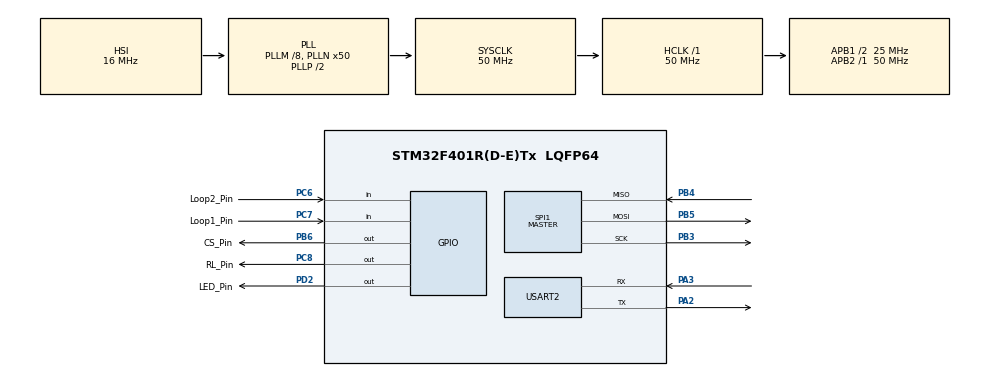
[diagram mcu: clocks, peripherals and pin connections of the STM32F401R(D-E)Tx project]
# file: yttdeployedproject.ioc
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Mcu.Family=STM32F4
Mcu.Name=STM32F401R(D-E)Tx
Mcu.Package=LQFP64
NVIC.PriorityGroup=NVIC_PRIORITYGROUP_4
PA0-WKUP.Mode=SYS_WakeUp0
PA0-WKUP.Signal=SYS_WKUP
PA13.Mode=Serial_Wire
PA13.Signal=SYS_JTMS-SWDIO
PA14.Mode=Serial_Wire
PA14.Signal=SYS_JTCK-SWCLK
PA2.Mode=Asynchronous
PA2.Signal=USART2_TX
PA3.Mode=Asynchronous
PA3.Signal=USART2_RX
PB3.Mode=Full_Duplex_Master
PB3.Signal=SPI1_SCK
PB4.Mode=Full_Duplex_Master
PB4.Signal=SPI1_MISO
PB5.Mode=Full_Duplex_Master
PB5.Signal=SPI1_MOSI
PB6.GPIO_Label=CS_Pin
PB6.Signal=GPIO_Output
PC6.GPIO_Label=Loop2_Pin
PC6.GPIO_PuPd=GPIO_PULLUP
PC6.Signal=GPIO_Input
PC7.GPIO_Label=Loop1_Pin
PC7.GPIO_PuPd=GPIO_PULLUP
PC7.Signal=GPIO_Input
PC8.GPIO_Label=RL_Pin
PC8.Signal=GPIO_Output
PD2.GPIO_Label=LED_Pin
PD2.Signal=GPIO_Output
ProjectManager.HeapSize=0x200
ProjectManager.StackSize=0x400
ProjectManager.TargetToolchain=STM32CubeIDE
RCC.48MHZClocksFreq_Value=25000000
RCC.AHBFreq_Value=50000000
RCC.APB1CLKDivider=RCC_HCLK_DIV2
RCC.APB1Freq_Value=25000000
RCC.APB1TimFreq_Value=50000000
RCC.APB2Freq_Value=50000000
RCC.APB2TimFreq_Value=50000000
RCC.CortexFreq_Value=50000000
RCC.HCLKFreq_Value=50000000
RCC.HSE_VALUE=25000000
RCC.HSI_VALUE=16000000
RCC.LSE_VALUE=32768
RCC.PLLM=8
RCC.PLLN=50
RCC.SYSCLKFreq_VALUE=50000000
RCC.SYSCLKSource=RCC_SYSCLKSOURCE_PLLCLK
RCC.VCOOutputFreq_Value=100000000
SPI1.Direction=SPI_DIRECTION_2LINES
SPI1.Mode=SPI_MODE_MASTER
SPI1.VirtualType=VM_MASTER
USART2.VirtualMode=VM_ASYNC
board=custom

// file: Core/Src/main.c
/* USER CODE BEGIN Header */
/**
  ******************************************************************************
  * @file           : main.c
  * @brief          : Main program body
  ******************************************************************************
  * @attention
  *
  * Copyright (c) 2026 STMicroelectronics.
  * All rights reserved.
  *
  * This software is licensed under terms that can be found in the LICENSE file
  * in the root directory of this software component.
  * If no LICENSE file comes with this software, it is provided AS-IS.
  *
  ******************************************************************************
  */
/* USER CODE END Header */
#include "main.h"

/* USER CODE BEGIN Includes */
#include "socket.h"
#include "w5500.h"
#include "wizchip_conf.h"
#include "loopback.h"
#include <string.h>
#include <stdio.h>
/* USER CODE END Includes */

/* USER CODE BEGIN PD */
#define SOCK_GET   0
#define SOCK_POST  1
#define SERVER_PORT 8000
#define GET_INTERVAL_MS 3000
#define SEQ_TIMEOUT     4000
#define RESET_DELAY     2000
#define DEBOUNCE_MS 20
/* USER CODE END PD */

SPI_HandleTypeDef hspi1;

UART_HandleTypeDef huart2;

/* USER CODE BEGIN PV */

wiz_NetInfo netInfo ={ .mac={0x00,0x08,0xdc,0xab,0xcd,0xef},
    		  	  	   .ip ={192,168,1,158},
  					   .sn ={255,255,255,0},
  					   .gw ={192,168,1,1},
  					   .dns = {8, 8, 8, 8}};

wiz_NetInfo readInfo;

uint8_t server_ip[4] = {192, 168, 1, 124};

uint8_t loopADetected = 0;
uint8_t loopBDetected = 0;
uint8_t sequenceComplete = 0;

uint32_t detectionTimestamp = 0;
uint32_t lastSequenceResetTime = 0;
uint32_t boomPollTick = 0;

/* USER CODE END PV */

void SystemClock_Config(void);
static void MX_GPIO_Init(void);
static void MX_SPI1_Init(void);
static void MX_USART2_UART_Init(void);

/* USER CODE BEGIN 0 */
int __io_putchar(int ch){
   HAL_UART_Transmit(&huart2,(uint8_t*)&ch,1,HAL_MAX_DELAY);
   return ch;
}

int _write(int file, char *ptr, int len)
{
    (void) file;
    int DataIdx;
    for (DataIdx = 0; DataIdx < len; DataIdx++)
     {
       ITM_SendChar(*ptr++);
     }
    return len;
}

void cs_sel(void)
{
    HAL_GPIO_WritePin(CS_Pin_GPIO_Port, CS_Pin_Pin, GPIO_PIN_RESET);
}

void cs_desel(void)
{
    HAL_GPIO_WritePin(CS_Pin_GPIO_Port, CS_Pin_Pin, GPIO_PIN_SET);
}

uint8_t spi_rb(void){
	uint8_t rbuf;
	HAL_SPI_Receive(&hspi1,&rbuf,1,100);
	return rbuf;
}

void spi_wb(uint8_t b){
	HAL_SPI_Transmit(&hspi1,&b,1,100);
}

void wizChipInit(){
	  reg_wizchip_cs_cbfunc(cs_sel,cs_desel);
	  reg_wizchip_spi_cbfunc(spi_rb,spi_wb);
	  uint8_t bufSize[8] = {2,2,2,2,2,2,2,2};
	  wizchip_init(bufSize,bufSize);
}

uint8_t checkLinkStatus(void){
	uint8_t phycfgr = getPHYCFGR();
	if(phycfgr & PHYCFGR_LNK_ON){
		return 1;
	}
	else{
		return 0;
	}
}

void resetSequence(void)
{
    loopADetected = 0;
    loopBDetected = 0;
    detectionTimestamp = 0;
}

void trigger_relay(void)
{
    HAL_GPIO_WritePin(RL_Pin_GPIO_Port, RL_Pin_Pin, GPIO_PIN_RESET);
    HAL_Delay(300);
    HAL_GPIO_WritePin(RL_Pin_GPIO_Port, RL_Pin_Pin, GPIO_PIN_SET);
}

void http_get_boomsig(void)
{
    uint8_t rxBuf[512];
    memset(rxBuf, 0, sizeof(rxBuf));

    const char getReq[] =
        "GET /check_boomsig?gate_id=1 HTTP/1.1\r\n"
        "Host: 192.168.1.124:8000\r\n"
        "Connection: close\r\n\r\n";

    socket(SOCK_GET, Sn_MR_TCP, 5000, 0);

    if (connect(SOCK_GET, server_ip, SERVER_PORT) != SOCK_OK)
        goto close_socket;

    send(SOCK_GET, (uint8_t*)getReq, strlen(getReq));

    uint32_t start = HAL_GetTick();
    int total_len = 0;

    // Wait up to 2 seconds for response
    while (HAL_GetTick() - start < 2000)
    {
        int available = getSn_RX_RSR(SOCK_GET);
        if (available > 0)
        {
            int len = recv(SOCK_GET, rxBuf + total_len, sizeof(rxBuf) - 1 - total_len);
            if (len > 0)
            {
                total_len += len;
                rxBuf[total_len] = '\0';
            }
        }
    }

    if (total_len > 0)
    {
        printf("HTTP RESP:\n%s\n", rxBuf);

        // Find start of JSON body
        char *body = strstr((char*)rxBuf, "\r\n\r\n");
        if (body)
            body += 4;  // skip \r\n\r\n

        if (body && strstr(body, "\"command\":\"|OPENEN%\""))
        {
            trigger_relay(); // ✅ open gate
        }
    }

close_socket:
    disconnect(SOCK_GET);
    close(SOCK_GET);
}

/* ================= HTTP POST ================= */
void http_post_vehicle_event(const char *event)
{
    char body[128];
    char txBuf[512];
    uint8_t rxBuf[256];

    /* ---------- JSON BODY ---------- */
    sprintf(body,
            "{\"gate_id\":\"1\",\"event\":\"%s\"}",
            event);

    int bodyLen = strlen(body);

    /* ---------- HTTP REQUEST ---------- */
    sprintf(txBuf,
            "POST /vehicle_data HTTP/1.1\r\n"
            "Host: 192.168.1.124:8000\r\n"
            "Content-Type: application/json\r\n"
            "Content-Length: %d\r\n"
            "Connection: close\r\n\r\n"
            "%s",
            bodyLen,
            body);

    /* ---------- SOCKET CLEANUP ---------- */
    close(SOCK_POST);

    if (socket(SOCK_POST, Sn_MR_TCP, 5001, 0) != SOCK_OK)
    {
        printf("POST socket open failed\r\n");
        return;
    }

    if (connect(SOCK_POST, server_ip, SERVER_PORT) != SOCK_OK)
    {
        printf("POST connect failed\r\n");
        close(SOCK_POST);
        return;
    }

    int sent = send(SOCK_POST, (uint8_t*)txBuf, strlen(txBuf));
    if (sent <= 0)
    {
        printf("POST send failed\r\n");
        goto close_socket;
    }

    /* ---------- WAIT FOR RESPONSE ---------- */
    HAL_Delay(50);

close_socket:
    disconnect(SOCK_POST);
    close(SOCK_POST);
}

void checkLoopSequence(void)
{
    uint32_t now = HAL_GetTick();

    /* INPUT_PULLUP: LOW = loop active */
    uint8_t loopAState = (HAL_GPIO_ReadPin(Loop1_Pin_GPIO_Port, Loop1_Pin_Pin) == GPIO_PIN_RESET);
    uint8_t loopBState = (HAL_GPIO_ReadPin(Loop2_Pin_GPIO_Port, Loop2_Pin_Pin) == GPIO_PIN_RESET);

    /* ---------------- SEQUENCE COMPLETE ---------------- */
    if (sequenceComplete)
    {
        if (!loopAState && !loopBState &&
            (now - lastSequenceResetTime > RESET_DELAY))
        {
            resetSequence();
            sequenceComplete = 0;
        }
        return;
    }

    /* ---------------- FIRST DETECTION ---------------- */
    if (loopAState && !loopADetected && !loopBDetected && !loopBState)
    {
        loopADetected = 1;
        detectionTimestamp = now;
        return;
    }

    if (loopBState && !loopBDetected && !loopADetected && !loopAState)
    {
        loopBDetected = 1;
        detectionTimestamp = now;
        return;
    }

    /* ---------------- BOTH ACTIVE → IGNORE ---------------- */
    if (loopAState && loopBState)
        return;

    /* ---------------- TIMEOUT ---------------- */
    if ((loopADetected || loopBDetected) &&
        (now - detectionTimestamp > SEQ_TIMEOUT))
    {
        resetSequence();
        return;
    }

    /* ---------------- ENTRY ---------------- */
    if (loopADetected && !loopBDetected &&
        !loopAState && loopBState)
    {
        printf("ENTRY\n");
        http_post_vehicle_event("entry");
        sequenceComplete = 1;
        lastSequenceResetTime = now;
        return;
    }

    /* ---------------- EXIT ---------------- */
    if (loopBDetected && !loopADetected &&
        !loopBState && loopAState)
    {
        printf("EXIT\n");
        http_post_vehicle_event("exit");
        sequenceComplete = 1;
        lastSequenceResetTime = now;
        return;
    }
}

/* USER CODE END 0 */

int main(void)
{

  /* MCU Configuration--------------------------------------------------------*/

  /* Reset of all peripherals, Initializes the Flash interface and the Systick. */
  HAL_Init();

  /* Configure the system clock */
  SystemClock_Config();

  /* Initialize all configured peripherals */
  MX_GPIO_Init();
  MX_SPI1_Init();
  MX_USART2_UART_Init();
  /* USER CODE BEGIN 2 */
  wizChipInit();
  HAL_Delay(500);
  wizchip_setnetinfo(&netInfo);
  HAL_Delay(500);
  wizchip_getnetinfo(&readInfo);
  /* USER CODE END 2 */
  printf("SWV Print Started...\r\n");
  /* Infinite loop */
  while (1)
  {

    /* USER CODE BEGIN 3 */
	  checkLoopSequence();
	  if (HAL_GetTick() - boomPollTick >= GET_INTERVAL_MS)
	  {
	     boomPollTick = HAL_GetTick();
	      http_get_boomsig();
	  }

  }
  /* USER CODE END 3 */
}

void SystemClock_Config(void)
{
  RCC_OscInitTypeDef RCC_OscInitStruct = {0};
  RCC_ClkInitTypeDef RCC_ClkInitStruct = {0};

  /** Configure the main internal regulator output voltage
  */
  __HAL_RCC_PWR_CLK_ENABLE();
  __HAL_PWR_VOLTAGESCALING_CONFIG(PWR_REGULATOR_VOLTAGE_SCALE2);

  /** Initializes the RCC Oscillators according to the specified parameters
  * in the RCC_OscInitTypeDef structure.
  */
  RCC_OscInitStruct.OscillatorType = RCC_OSCILLATORTYPE_HSI;
  RCC_OscInitStruct.HSIState = RCC_HSI_ON;
  RCC_OscInitStruct.HSICalibrationValue = RCC_HSICALIBRATION_DEFAULT;
  RCC_OscInitStruct.PLL.PLLState = RCC_PLL_ON;
  RCC_OscInitStruct.PLL.PLLSource = RCC_PLLSOURCE_HSI;
  RCC_OscInitStruct.PLL.PLLM = 8;
  RCC_OscInitStruct.PLL.PLLN = 50;
  RCC_OscInitStruct.PLL.PLLP = RCC_PLLP_DIV2;
  RCC_OscInitStruct.PLL.PLLQ = 4;
  if (HAL_RCC_OscConfig(&RCC_OscInitStruct) != HAL_OK)
  {
    Error_Handler();
  }

  /** Initializes the CPU, AHB and APB buses clocks
  */
  RCC_ClkInitStruct.ClockType = RCC_CLOCKTYPE_HCLK|RCC_CLOCKTYPE_SYSCLK
                              |RCC_CLOCKTYPE_PCLK1|RCC_CLOCKTYPE_PCLK2;
  RCC_ClkInitStruct.SYSCLKSource = RCC_SYSCLKSOURCE_PLLCLK;
  RCC_ClkInitStruct.AHBCLKDivider = RCC_SYSCLK_DIV1;
  RCC_ClkInitStruct.APB1CLKDivider = RCC_HCLK_DIV2;
  RCC_ClkInitStruct.APB2CLKDivider = RCC_HCLK_DIV1;

  if (HAL_RCC_ClockConfig(&RCC_ClkInitStruct, FLASH_LATENCY_1) != HAL_OK)
  {
    Error_Handler();
  }
}

static void MX_SPI1_Init(void)
{

  /* SPI1 parameter configuration*/
  hspi1.Instance = SPI1;
  hspi1.Init.Mode = SPI_MODE_MASTER;
  hspi1.Init.Direction = SPI_DIRECTION_2LINES;
  hspi1.Init.DataSize = SPI_DATASIZE_8BIT;
  hspi1.Init.CLKPolarity = SPI_POLARITY_LOW;
  hspi1.Init.CLKPhase = SPI_PHASE_1EDGE;
  hspi1.Init.NSS = SPI_NSS_SOFT;
  hspi1.Init.BaudRatePrescaler = SPI_BAUDRATEPRESCALER_2;
  hspi1.Init.FirstBit = SPI_FIRSTBIT_MSB;
  hspi1.Init.TIMode = SPI_TIMODE_DISABLE;
  hspi1.Init.CRCCalculation = SPI_CRCCALCULATION_DISABLE;
  hspi1.Init.CRCPolynomial = 10;
  if (HAL_SPI_Init(&hspi1) != HAL_OK)
  {
    Error_Handler();
  }

}

static void MX_USART2_UART_Init(void)
{

  huart2.Instance = USART2;
  huart2.Init.BaudRate = 115200;
  huart2.Init.WordLength = UART_WORDLENGTH_8B;
  huart2.Init.StopBits = UART_STOPBITS_1;
  huart2.Init.Parity = UART_PARITY_NONE;
  huart2.Init.Mode = UART_MODE_TX_RX;
  huart2.Init.HwFlowCtl = UART_HWCONTROL_NONE;
  huart2.Init.OverSampling = UART_OVERSAMPLING_16;
  if (HAL_UART_Init(&huart2) != HAL_OK)
  {
    Error_Handler();
  }

}

static void MX_GPIO_Init(void)
{
  GPIO_InitTypeDef GPIO_InitStruct = {0};

  /* GPIO Ports Clock Enable */
  __HAL_RCC_GPIOA_CLK_ENABLE();
  __HAL_RCC_GPIOC_CLK_ENABLE();
  __HAL_RCC_GPIOD_CLK_ENABLE();
  __HAL_RCC_GPIOB_CLK_ENABLE();

  /*Configure GPIO pin Output Level */
  HAL_GPIO_WritePin(RL_Pin_GPIO_Port, RL_Pin_Pin, GPIO_PIN_RESET);

  /*Configure GPIO pin Output Level */
  HAL_GPIO_WritePin(LED_Pin_GPIO_Port, LED_Pin_Pin, GPIO_PIN_RESET);

  /*Configure GPIO pin Output Level */
  HAL_GPIO_WritePin(CS_Pin_GPIO_Port, CS_Pin_Pin, GPIO_PIN_RESET);

  /*Configure GPIO pins : Loop2_Pin_Pin Loop1_Pin_Pin */
  GPIO_InitStruct.Pin = Loop2_Pin_Pin|Loop1_Pin_Pin;
  GPIO_InitStruct.Mode = GPIO_MODE_INPUT;
  GPIO_InitStruct.Pull = GPIO_PULLUP;
  HAL_GPIO_Init(GPIOC, &GPIO_InitStruct);

  /*Configure GPIO pin : RL_Pin_Pin */
  GPIO_InitStruct.Pin = RL_Pin_Pin;
  GPIO_InitStruct.Mode = GPIO_MODE_OUTPUT_PP;
  GPIO_InitStruct.Pull = GPIO_NOPULL;
  GPIO_InitStruct.Speed = GPIO_SPEED_FREQ_LOW;
  HAL_GPIO_Init(RL_Pin_GPIO_Port, &GPIO_InitStruct);

  /*Configure GPIO pin : LED_Pin_Pin */
  GPIO_InitStruct.Pin = LED_Pin_Pin;
  GPIO_InitStruct.Mode = GPIO_MODE_OUTPUT_PP;
  GPIO_InitStruct.Pull = GPIO_NOPULL;
  GPIO_InitStruct.Speed = GPIO_SPEED_FREQ_LOW;
  HAL_GPIO_Init(LED_Pin_GPIO_Port, &GPIO_InitStruct);

  /*Configure GPIO pin : CS_Pin_Pin */
  GPIO_InitStruct.Pin = CS_Pin_Pin;
  GPIO_InitStruct.Mode = GPIO_MODE_OUTPUT_PP;
  GPIO_InitStruct.Pull = GPIO_NOPULL;
  GPIO_InitStruct.Speed = GPIO_SPEED_FREQ_LOW;
  HAL_GPIO_Init(CS_Pin_GPIO_Port, &GPIO_InitStruct);

  /* USER CODE BEGIN MX_GPIO_Init_2 */
  HAL_GPIO_WritePin(RL_Pin_GPIO_Port, RL_Pin_Pin, GPIO_PIN_SET);
  /* USER CODE END MX_GPIO_Init_2 */
}

void Error_Handler(void)
{
  __disable_irq();
  while (1)
  {
  }
}
